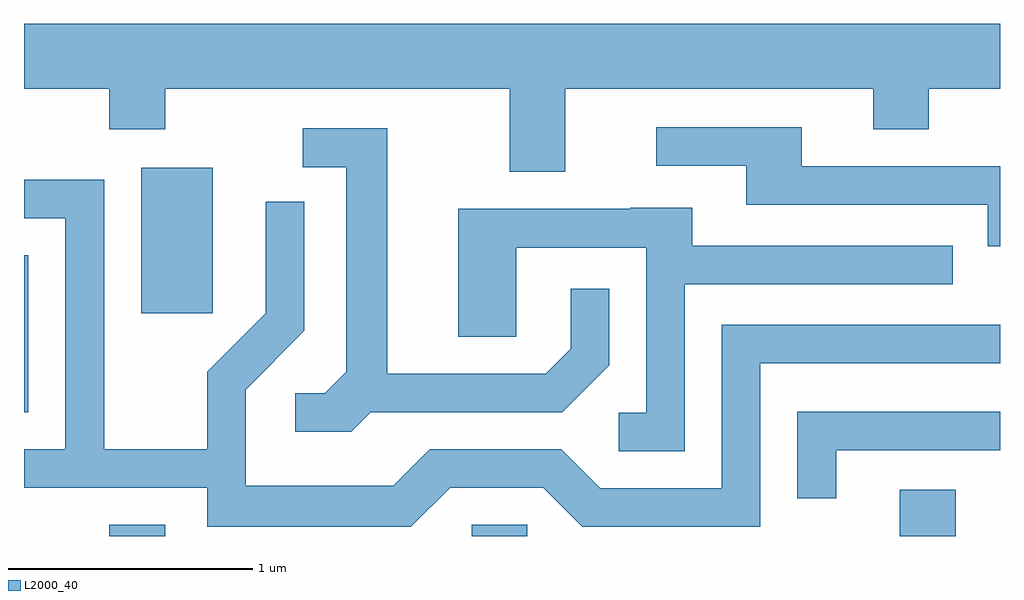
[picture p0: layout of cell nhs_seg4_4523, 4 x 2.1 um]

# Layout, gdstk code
import gdstk
lib = gdstk.Library(unit=1e-6, precision=1e-09)
def R(c, l, rs):  # rectangles x0, y0, x1, y1
    for r in rs: c.add(gdstk.rectangle(r[:2], r[2:], *l))
def P(c, l, *ps):  # polygons
    for p in ps: c.add(gdstk.Polygon(p, *l))
L2000_40 = (2000, 40)

nhs_seg4_4523 = lib.new_cell('nhs_seg4_4523')
R(nhs_seg4_4523, L2000_40, [(317.961,1323.982,318.189,1324.029), (319.446,1323.982,319.674,1324.029), (321.201,1323.982,321.429,1324.174), (317.611,1324.491,317.629,1325.134), (318.091,1324.896,318.384,1325.494)])
P(nhs_seg4_4523, L2000_40, [(319.829,1325.816),(321.091,1325.816),(321.091,1325.651),(321.319,1325.651),(321.319,1325.816),(321.611,1325.816),(321.611,1326.084),(317.611,1326.084),(317.611,1325.816),(317.961,1325.816),(317.961,1325.651),(318.189,1325.651),(318.189,1325.816),(319.601,1325.816),(319.601,1325.476),(319.829,1325.476)],
  [(321.611,1325.499),(320.799,1325.499),(320.799,1325.659),(320.203,1325.659),(320.203,1325.501),(320.571,1325.501),(320.571,1325.341),(321.561,1325.341),(321.561,1325.171),(321.611,1325.171)],
  [(319.032,1324.491),(319.817,1324.491),(320.009,1324.684),(320.009,1324.998),(319.851,1324.998),(319.851,1324.752),(319.749,1324.649),(319.099,1324.649),(319.099,1325.654),(318.753,1325.654),(318.753,1325.496),(318.931,1325.496),(318.931,1324.657),(318.844,1324.569),(318.723,1324.569),(318.723,1324.411),(318.952,1324.411)],
  [(319.357,1324.181),(319.739,1324.181),(319.899,1324.021),(320.629,1324.021),(320.629,1324.691),(321.611,1324.691),(321.611,1324.849),(320.471,1324.849),(320.471,1324.179),(319.972,1324.179),(319.812,1324.339),(319.274,1324.339),(319.124,1324.189),(318.519,1324.189),(318.519,1324.584),(318.759,1324.824),(318.759,1325.353),(318.601,1325.353),(318.601,1324.897),(318.361,1324.657),(318.361,1324.339),(317.939,1324.339),(317.939,1325.444),(317.611,1325.444),(317.611,1325.286),(317.781,1325.286),(317.781,1324.339),(317.611,1324.339),(317.611,1324.181),(318.361,1324.181),(318.361,1324.021),(319.197,1324.021)],
  [(320.319,1325.016),(321.418,1325.016),(321.418,1325.174),(320.349,1325.174),(320.349,1325.329),(320.095,1325.329),(320.095,1325.324),(319.391,1325.324),(319.391,1324.801),(319.629,1324.801),(319.629,1325.166),(320.161,1325.166),(320.161,1324.489),(320.048,1324.489),(320.048,1324.331),(320.319,1324.331)],
  [(320.939,1324.336),(321.611,1324.336),(321.611,1324.494),(320.781,1324.494),(320.781,1324.138),(320.939,1324.138)])

lib.write_gds('nhs_seg4_4523.gds')
